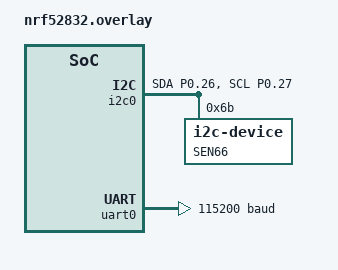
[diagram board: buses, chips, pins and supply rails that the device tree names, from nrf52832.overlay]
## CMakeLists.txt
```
cmake_minimum_required(VERSION 3.20.0)
find_package(Zephyr REQUIRED HINTS $ENV{ZEPHYR_BASE})

project(sen66_mobile_app)

target_sources(app PRIVATE src/main.c)
```

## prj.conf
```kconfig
CONFIG_BT=y
CONFIG_BT_EXT_ADV=y

CONFIG_I2C=y
CONFIG_BT_DEVICE_NAME="SEN66"

CONFIG_MAIN_STACK_SIZE=2048
CONFIG_CBPRINTF_FP_SUPPORT=y
CONFIG_BT_BROADCASTER=y
CONFIG_BT_PERIPHERAL=y
CONFIG_BT_ID_MAX=2
```

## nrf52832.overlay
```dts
&i2c0 {
    status = "okay";
    pinctrl-0 = <&i2c0_default>;
    pinctrl-1 = <&i2c0_sleep>;
    pinctrl-names = "default", "sleep";
    sen66: sen66@6b {
        compatible = "i2c-device";
        reg = <0x6b>;
        label = "SEN66";
    };
};





&pinctrl {
    i2c0_default: i2c0_default {
        group1 {
            psels = <NRF_PSEL(TWIM_SDA, 0, 26)>,
                    <NRF_PSEL(TWIM_SCL, 0, 27)>;
				bias-pull-up;
        };
    };

    i2c0_sleep: i2c0_sleep {
        group1 {
            psels = <NRF_PSEL(TWIM_SDA, 0, 26)>,
                    <NRF_PSEL(TWIM_SCL, 0, 27)>;
            low-power-enable;
        };
    };
};

&uart0 {
	status = "okay";
	compatible = "nordic,nrf-uarte";
	current-speed = <115200>;
};
```

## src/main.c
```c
#include <zephyr/kernel.h>
#include <zephyr/drivers/i2c.h>
#include <zephyr/sys/printk.h>
#include <zephyr/drivers/gpio.h>
#include <zephyr/bluetooth/bluetooth.h>
#include <zephyr/bluetooth/controller.h>

#define I2C_NODE DT_NODELABEL(sen66)

static const struct i2c_dt_spec dev_i2c = I2C_DT_SPEC_GET(I2C_NODE);

#define SEN66_ADDR 0x6B // I2C address of the SEN66 sensor

#define CMD_START_MEAS 0x0021
#define CMD_READ_VALUES 0x0300
#define CMD_RESET 0xD304

#define DEVICE_NAME CONFIG_BT_DEVICE_NAME
#define DEVICE_NAME_LEN (sizeof(DEVICE_NAME) - 1)

struct bt_le_ext_adv *adv;

struct bt_le_adv_param adv_param = BT_LE_ADV_PARAM_INIT(
    BT_LE_ADV_OPT_NONE | BT_LE_ADV_OPT_EXT_ADV |
        BT_LE_ADV_OPT_USE_IDENTITY | BT_LE_ADV_OPT_NO_2M,
    0x30, 0x30, NULL);

struct bt_le_ext_adv_start_param ext_adv_param = BT_LE_EXT_ADV_START_PARAM_INIT(0, 0);

static uint8_t mfg_data[21] = {0};

static const struct bt_data ad[] = {
    BT_DATA(BT_DATA_MANUFACTURER_DATA, mfg_data, 21),
    BT_DATA(BT_DATA_NAME_COMPLETE, DEVICE_NAME, DEVICE_NAME_LEN)};

int err;
/* Function to send a command to the SEN66 sensor over I2C */
void send_command(uint16_t cmd)
{
        uint8_t buf[2];
        buf[0] = (cmd >> 8); // Extract High Byte
        buf[1] = cmd & 0xFF; // Extract Low Byte

        i2c_write_dt(&dev_i2c, buf, sizeof(buf));
}

/* Function to read measurement data from the SEN66 sensor over I2C */
void read_data(uint16_t *output, uint8_t data_size)
{
        // Each measurement data point consists of 2 bytes + 1 CRC byte (3 bytes total).
        // For 9 data points, we read 27 bytes.
        uint8_t data_array[27];
        i2c_read_dt(&dev_i2c, data_array, sizeof(data_array));

        uint8_t i = 0;
        while (i < data_size)
        {
                // Assemble MSB and LSB while skipping the 3rd byte (CRC) of every triplet
                uint8_t msb = data_array[i * 3];
                uint8_t lsb = data_array[i * 3 + 1];
                output[i] = (msb << 8) | lsb;
                i++;
        }
}
/* Function to initialize Bluetooth advertising parameters and create an advertising set */
void adv_param_init(void)
{
        err = bt_le_ext_adv_create(&adv_param, NULL, &adv);
        if (err)
        {
                printk("Failed to create advertising, err %d\n", err);
        }
        else
        {
                printk("Created extended advertising\n");
        }
}

/* Function to set a random static Bluetooth address for the device */
void set_random_static_address(void)
{
        bt_addr_le_t addr;

        err = bt_addr_le_from_str("DE:AD:BE:AF:BA:01", "random", &addr);
        if (err != 0)
        {
                printk("Invalid BT address, err %d\n", err);
        }

        err = bt_id_create(&addr, NULL);
        if (err < 0)
        {
                printk("Creating new id failed, err %d\n", err);
        }
        else
        {
                printk("Created new address with id %d\n", err);
                adv_param.id = err;
        }
}
/* Function to start Bluetooth advertising with the configured parameters and data */
void start_adv(void)
{
        // printk("Start advertising\n");

        err = bt_le_ext_adv_set_data(adv, ad, ARRAY_SIZE(ad), NULL, 0);
        if (err)
        {
                printk("Failed to set extended advertising data, err %d\n", err);
        }

        printk("Start Extended Advertising...\n");
        err = bt_le_ext_adv_start(adv, &ext_adv_param);
        if (err)
        {
                printk("Failed to start advertising, err %d\n", err);
        }

        k_msleep(500);
        bt_le_ext_adv_stop(adv);
        printk("Stopped advertising\n");
}
/* Function to perform fan cleaning by sending specific commands to the SEN66 sensor and waiting for the required durations */
void fan_cleaning()
{
        // 1. Stop measurement mode (Cmd: 0x0104)
        send_command(0x0104);
        k_msleep(10); // Wait for sensor to process stop command

        // 2. Start fan cleaning (Cmd: 0x5607)
        send_command(0x5607);
        k_msleep(10);

        // 3. Restart measurement mode
        send_command(CMD_START_MEAS);
        k_msleep(10); // Warm-up delay

        /* ---countdown --- */
        for (int i = 0; i <= 100; i++)
        {
                printk("\rWaiting for Fan cleaning: %3d%%", i);
                k_msleep(80);
        }
        printk("\n");

        printk("Fan cleaning done, resumes taking reading \n");
}

/* Main function to initialize the device, check I2C bus readiness, and continuously read sensor data, update Bluetooth advertising data, and perform periodic fan cleaning */
int main(void)
{
        if (!device_is_ready(dev_i2c.bus))
        {
                printk("I2C bus %s is not ready!\n", dev_i2c.bus->name);
                return -1;
        }
        else
        {
                printk("Sensor is working\n");
        }

        printk("SEN66 on Mobile App\n");
        
        uint8_t bt_err = bt_enable(NULL);
        if (bt_err)
        {
                printk("Bluetooth init failed, error %d\n", bt_err);
                return -1;
        }
        set_random_static_address();
        /* Initialize Bluetooth advertising parameters and create an advertising set */
        adv_param_init();

        send_command(CMD_RESET);
        k_msleep(10);

        fan_cleaning();
        uint32_t last_read_time = 0;

        send_command(CMD_START_MEAS);
        k_msleep(10);

        uint16_t output[9];

        int64_t last_time = 0;
        /* Main loop to continuously read sensor data, update Bluetooth advertising data, and perform periodic fan cleaning every 24 hours */
        while (1)
        {
                // 24-Hour Maintenance: Trigger fan cleaning daily
                static int64_t last_time = 0;
                if ((k_uptime_get_32() - last_time >= (24 * 60 * 60 * 1000)))
                {
                        fan_cleaning();
                        last_time = k_uptime_get_32();
                }

                // --- HARDWARE GUARD ---
                // SEN66 should not be polled faster than once per second to prevent I2C bus congestion or sensor errors.
                uint32_t now = k_uptime_get_32();
                if (now - last_read_time < 1000)
                {
                        k_msleep(1000 - (now - last_read_time));
                }
                /* Send command to read sensor values and wait for the required duration before reading the data */
                send_command(CMD_READ_VALUES);
                k_msleep(20);
                /* Clear the output buffer and read the raw sensor data from the SEN66 sensor over I2C */
                memset(mfg_data, 0, sizeof(mfg_data));
                read_data(output, 9);
                /* Process the raw sensor data and convert it to human-readable values */
                float pm1 = output[0] / 10.0f;
                float pm25 = output[1] / 10.0f;
                float pm4 = output[2] / 10.0f;
                float pm10 = output[3] / 10.0f;
                float rh = (int16_t)output[4] / 100.0f;
                float temp = (int16_t)output[5] / 200.0f;
                int16_t voc = (int16_t)output[6] / 10;
                int16_t nox = (int16_t)output[7] / 10;
                uint16_t CO2 = output[8];
                /* Update the Bluetooth advertising data with the latest sensor readings */
                mfg_data[0] = 0x59;
                mfg_data[1] = 0x00;

                /* Device ID */
                mfg_data[2] = 158;

                /* PM1.0 */
                mfg_data[3] = (output[0] >> 8) & 0xFF;
                mfg_data[4] = output[0] & 0xFF;

                /* PM2.5*/
                mfg_data[5] = (output[1] >> 8) & 0xFF;
                mfg_data[6] = output[1] & 0xFF;

                /* PM4.0 */
                mfg_data[7] = (output[2] >> 8) & 0xFF;
                mfg_data[8] = output[2] & 0xFF;

                /* PM10 */
                mfg_data[9] = (output[3] >> 8) & 0xFF;
                mfg_data[10] = output[3] & 0xFF;

                /* Temperature */
                mfg_data[11] = (output[5] >> 8) & 0xFF;
                mfg_data[12] = output[5] & 0xFF;

                /* Relative Humidity */
                mfg_data[13] = (output[4] >> 8) & 0xFF;
                mfg_data[14] = output[4] & 0xFF;

                // CO2 ppm
                mfg_data[15] = (CO2 >> 8) & 0xFF;
                mfg_data[16] = CO2 & 0xFF;

                // VOC index
                mfg_data[17] = (voc >> 8) & 0xFF;
                mfg_data[18] = voc & 0xFF;

                // NOx index
                mfg_data[19] = (nox >> 8) & 0xFF;
                mfg_data[20] = nox & 0xFF;

                /* Serial debug output */
                printk("PM1.0 : %.1f µg/m³\n", pm1);
                printk("PM2.5 : %.1f µg/m³\n", pm25);
                printk("PM4.0 : %.1f µg/m³\n", pm4);
                printk("PM10  : %.1f µg/m³\n", pm10);
                printk("RH    : %.2f %%\n", rh);
                printk("Temp  : %.2f °C\n", temp);
                printk("VOC   : %d\n", voc);
                printk("NOx   : %d\n", nox);
                printk("CO2   : %u ppm\n", CO2);
                printk("\n");
                /* Start Bluetooth advertising with the updated sensor data */
                start_adv();
                k_msleep(50);
        }

        return 0;
}
```
